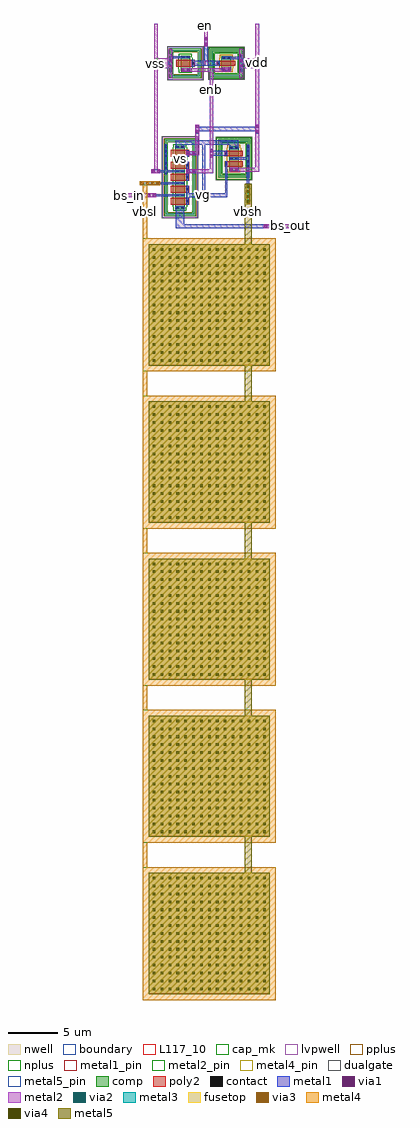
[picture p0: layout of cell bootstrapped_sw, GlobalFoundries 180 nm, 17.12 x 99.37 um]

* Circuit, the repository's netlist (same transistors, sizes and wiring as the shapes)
* NGSPICE file created from bootstrapped_sw.ext - technology: gf180mcuD

.subckt XM1_bs G D a_n302_n324# a_n302_252# S
X0 S G D a_n302_n324# nfet_06v0 ad=0.44p pd=2.88u as=0.44p ps=2.88u w=1u l=0.7u
.ends

.subckt XM4_bs G D w_n319_n356# S
X0 S G D w_n319_n356# pfet_06v0 ad=0.44p pd=2.88u as=0.44p ps=2.88u w=1u l=0.55u
.ends

.subckt XMs1_bs G D a_n302_n324# S
X0 D G S a_n302_n324# nfet_06v0 ad=0.44p pd=2.88u as=0.44p ps=2.88u w=1u l=0.7u
.ends

.subckt bs_cap I1_1_1_R0_BOT I1_1_1_R0_TOP
X0 I1_1_1_R0_TOP I1_1_1_R0_BOT cap_mim_2f0fF c_width=12.339999u c_length=12.339999u
.ends

.subckt XM3_bs G D w_n319_n356# S
X0 D G S w_n319_n356# pfet_06v0 ad=0.44p pd=2.88u as=0.44p ps=2.88u w=1u l=0.55u
.ends

.subckt XM1_bs_inv G D a_n302_n324# S
X0 D G S a_n302_n324# nfet_06v0 ad=0.44p pd=2.88u as=0.44p ps=2.88u w=1u l=0.7u
.ends

.subckt XM2_bs_inv G D w_n319_n356# S
X0 D G S w_n319_n356# pfet_06v0 ad=0.44p pd=2.88u as=0.44p ps=2.88u w=1u l=0.55u
.ends

.subckt bs_inv inv_out vdd inv_in vss
XXM1_bs_inv_0 inv_in inv_out vss vss XM1_bs_inv
XXM2_bs_inv_0 inv_in inv_out vdd vdd XM2_bs_inv
.ends

.subckt XMs_bs G D a_n302_n324# S
X0 D G S a_n302_n324# nfet_06v0 ad=0.44p pd=2.88u as=0.44p ps=2.88u w=1u l=0.7u
.ends

.subckt XM2_bs G D a_n302_n324# a_n302_252# S
X0 D G S a_n302_n324# nfet_06v0 ad=0.44p pd=2.88u as=0.44p ps=2.88u w=1u l=0.7u
.ends

.subckt XMs2_bs G D a_n302_n324# a_n302_252# S
X0 S G D a_n302_n324# nfet_06v0 ad=0.44p pd=2.88u as=0.44p ps=2.88u w=1u l=0.7u
.ends

.subckt bootstrapped_sw vbsl vbsh vdd vss en enb bs_in bs_out vg vs
XXM1_bs_0 vg bs_in vss vss vbsl XM1_bs
XXM4_bs_0 vg vbsh vbsh vdd XM4_bs
XXMs1_bs_0 vdd vs vss vg XMs1_bs
Xbs_cap_0 vbsl vbsh bs_cap
Xbs_cap_1 vbsl vbsh bs_cap
XXM3_bs_0 enb vg vbsh vbsh XM3_bs
Xbs_cap_2 vbsl vbsh bs_cap
Xbs_cap_4 vbsl vbsh bs_cap
Xbs_cap_3 vbsl vbsh bs_cap
Xbs_inv_0 enb vdd en vss bs_inv
XXMs_bs_0 vg bs_out vss bs_in XMs_bs
XXM2_bs_0 enb vbsl vss vss vss XM2_bs
XXMs2_bs_0 enb vs vss vss vss XMs2_bs
.ends

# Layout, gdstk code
from math import pi, radians
import gdstk
lib = gdstk.Library(unit=1e-6, precision=1e-09)
def R(c, l, rs):  # rectangles x0, y0, x1, y1
    for r in rs: c.add(gdstk.rectangle(r[:2], r[2:], *l))
def A(c, l, x, y, w, h, nx, ny, dx, dy):  # array of equal rectangles
    R(c, l, [(x+i*dx, y+j*dy, x+i*dx+w, y+j*dy+h) for i in range(nx) for j in range(ny)])
boundary = (0, 0)
nwell = (21, 0)
comp = (22, 0)
poly2 = (30, 0)
pplus = (31, 0)
nplus = (32, 0)
contact = (33, 0)
metal1 = (34, 0)
metal1_pin = (34, 10)
via1 = (35, 0)
metal2 = (36, 0)
metal2_pin = (36, 10)
via2 = (38, 0)
via3 = (40, 0)
via4 = (41, 0)
metal3 = (42, 0)
metal4 = (46, 0)
metal4_pin = (46, 10)
dualgate = (55, 0)
fusetop = (75, 0)
metal5 = (81, 0)
metal5_pin = (81, 10)
cap_mk = (117, 5)
L117_10 = (117, 10)
lvpwell = (204, 0)

xm2_bs_inv = lib.new_cell('XM2_bs_inv')
R(xm2_bs_inv, boundary, [(-1.255,-1.44,1.255,1.44)])
R(xm2_bs_inv, nwell, [(-1.595,-1.78,1.595,1.78)])
R(xm2_bs_inv, comp, [(-1.435,-1.62,1.435,-1.26), (-1.435,-1.26,-1.075,1.26), (1.075,-1.26,1.435,1.26), (-0.715,-0.5,0.715,0.5), (-1.435,1.26,1.435,1.62)])
R(xm2_bs_inv, poly2, [(-0.275,-0.915,0.275,0.96)])
R(xm2_bs_inv, pplus, [(-0.505,-0.73,0.505,-0.66), (-0.875,-0.66,0.875,0.66), (-0.505,0.66,0.505,0.73)])
R(xm2_bs_inv, nplus, [(-1.595,-1.78,1.595,-1.19), (-1.595,-1.19,-1.005,1.19), (1.005,-1.19,1.595,1.19), (-1.595,1.19,1.595,1.78)])
A(xm2_bs_inv, contact, -0.815, -1.55, 0.22, 0.22, 4, 1, 0.47, 0)
R(xm2_bs_inv, contact, [(-0.645,-0.345,-0.425,-0.125), (0.425,-0.345,0.645,-0.125), (-0.645,0.125,-0.425,0.345), (0.425,0.125,0.645,0.345), (-0.11,0.67,0.11,0.89)])
R(xm2_bs_inv, metal1, [(-0.9,-1.555,0.9,-1.325), (-0.65,-0.435,-0.42,0.435), (0.42,-0.435,0.65,0.435), (-0.265,0.665,0.265,0.895)])
R(xm2_bs_inv, dualgate, [(-1.675,-1.86,1.675,1.86)])
xm2_bs_inv.add(gdstk.Label('D', (0.6,0), layer=34, texttype=0))
xm2_bs_inv.add(gdstk.Label('S', (-0.6,0), layer=34, texttype=0))
xm2_bs_inv.add(gdstk.Label('G', (0,0), layer=30, texttype=10))

xm1_bs_inv = lib.new_cell('XM1_bs_inv')
R(xm1_bs_inv, boundary, [(-1.33,-1.44,1.33,1.44)])
R(xm1_bs_inv, comp, [(-1.51,-1.62,1.51,-1.26), (-1.51,-1.26,-1.15,1.26), (1.15,-1.26,1.51,1.26), (-0.79,-0.5,0.79,0.5), (-1.51,1.26,1.51,1.62)])
R(xm1_bs_inv, poly2, [(-0.35,-0.915,0.35,0.96), (-0.35,-0.915,0.35,0.96)])
R(xm1_bs_inv, pplus, [(-1.025,-1.65,1.025,-1.64), (-1.53,-1.64,1.53,-1.23), (-1.53,-1.23,-1.13,1.24), (1.13,-1.23,1.53,1.24), (-1.53,1.24,1.53,1.64)])
R(xm1_bs_inv, nplus, [(-0.58,-0.73,0.58,-0.66), (-0.95,-0.66,0.95,0.66), (-0.58,0.66,0.58,0.73)])
A(xm1_bs_inv, contact, -0.815, -1.55, 0.22, 0.22, 4, 1, 0.47, 0)
R(xm1_bs_inv, contact, [(-0.72,-0.345,-0.5,-0.125), (0.5,-0.345,0.72,-0.125), (-0.72,0.125,-0.5,0.345), (0.5,0.125,0.72,0.345), (-0.11,0.67,0.11,0.89)])
R(xm1_bs_inv, metal1, [(-0.93,-1.555,0.93,-1.325), (-0.725,-0.435,-0.495,0.435), (0.495,-0.435,0.725,0.435), (-0.34,0.665,0.34,0.895)])
R(xm1_bs_inv, dualgate, [(-1.75,-1.86,1.75,1.86)])
R(xm1_bs_inv, lvpwell, [(-1.67,-1.78,1.67,1.78)])
xm1_bs_inv.add(gdstk.Label('D', (0.6,0), layer=34, texttype=0))
xm1_bs_inv.add(gdstk.Label('S', (-0.6,0), layer=34, texttype=0))
xm1_bs_inv.add(gdstk.Label('G', (0,0), layer=30, texttype=10))

bs_inv = lib.new_cell('bs_inv')
R(bs_inv, metal1, [(3.55,-5.865,4.45,-5.485), (3.275,-5.715,3.505,-3.725), (4.495,-4.61,4.875,-3.71), (3.735,-3.495,4.265,-0.665), (4.42,-0.45,4.8,0.45), (3.35,-0.435,3.58,1.555), (3.55,1.325,4.45,1.705)])
R(bs_inv, metal1_pin, [(3.07,-5.715,3.3,-5.485), (3.735,-2.17,4.265,-1.83), (3.1,1.325,3.33,1.555)])
R(bs_inv, via1, [(3.61,-5.805,3.87,-5.545), (4.13,-5.805,4.39,-5.545), (4.555,-4.55,4.815,-4.29), (4.555,-4.03,4.815,-3.77), (4.48,-0.39,4.74,-0.13), (4.48,0.13,4.74,0.39), (3.61,1.385,3.87,1.645), (4.13,1.385,4.39,1.645)])
R(bs_inv, metal2, [(2.5,-5.865,5.5,-5.485), (3.55,-5.865,4.45,-5.485), (4.495,-4.61,4.875,-3.71), (4.495,-4.61,4.875,0.45), (4.42,-0.45,4.8,0.45), (2.5,1.325,5.5,1.705), (3.55,1.325,4.45,1.705)])
R(bs_inv, metal2_pin, [(4.495,-2.17,4.875,-1.83)])
bs_inv.add(gdstk.Reference(xm2_bs_inv, (4,0), x_reflection=True))
bs_inv.add(gdstk.Reference(xm1_bs_inv, (4,-4.16)))
bs_inv.add(gdstk.Label('vdd', (3.214,1.44), layer=34, texttype=10))
bs_inv.add(gdstk.Label('vss', (3.184,-5.6), layer=34, texttype=10))
bs_inv.add(gdstk.Label('inv_in', (3.999,-1.987), layer=34, texttype=10))
bs_inv.add(gdstk.Label('inv_out', (4.68,-1.998), layer=36, texttype=10))

xms1_bs = lib.new_cell('XMs1_bs')
R(xms1_bs, boundary, [(-1.33,-1.44,1.33,1.44)])
R(xms1_bs, comp, [(-1.51,-1.62,1.51,-1.26), (-1.51,-1.26,-1.15,1.26), (-0.79,-0.5,0.79,0.5), (-1.51,1.26,1.51,1.62)])
R(xms1_bs, poly2, [(-0.35,-0.915,0.35,0.96)])
R(xms1_bs, pplus, [(-1.025,-1.65,1.025,-1.64), (-1.53,-1.64,1.53,-1.23), (-1.53,-1.23,-1.13,1.24), (-1.53,1.24,1.53,1.64)])
R(xms1_bs, nplus, [(-0.58,-0.73,0.61,-0.66), (-0.95,-0.66,0.95,0.66), (-0.58,0.66,0.61,0.73)])
A(xms1_bs, contact, -0.815, -1.55, 0.22, 0.22, 3, 1, 0.47, 0)
R(xms1_bs, contact, [(-0.72,-0.345,-0.5,-0.125), (0.5,-0.345,0.72,-0.125), (-0.72,0.125,-0.5,0.345), (0.5,0.125,0.72,0.345), (-0.11,0.67,0.11,0.89)])
R(xms1_bs, metal1, [(-0.93,-1.555,0.93,-1.325), (-0.725,-0.435,-0.495,0.435), (0.495,-0.435,0.725,0.435), (-0.34,0.665,0.34,0.895)])
R(xms1_bs, dualgate, [(-1.75,-1.86,1.75,1.86)])
R(xms1_bs, lvpwell, [(-1.67,-1.78,1.67,1.78)])
xms1_bs.add(gdstk.Label('D', (0.6,0), layer=34, texttype=0))
xms1_bs.add(gdstk.Label('S', (-0.6,0), layer=34, texttype=0))
xms1_bs.add(gdstk.Label('G', (0,0), layer=30, texttype=10))

xms_bs = lib.new_cell('XMs_bs')
R(xms_bs, boundary, [(-1.33,-1.44,1.33,1.44)])
R(xms_bs, comp, [(-1.51,-1.62,1.51,-1.26), (1.15,-1.26,1.51,1.26), (-0.79,-0.5,0.79,0.5), (-1.51,1.26,1.51,1.62)])
R(xms_bs, poly2, [(-0.35,-0.915,0.35,0.96)])
R(xms_bs, pplus, [(-1.025,-1.65,1.025,-1.64), (-1.53,-1.64,1.53,-1.23), (1.13,-1.23,1.53,1.24), (-1.53,1.24,1.53,1.64)])
R(xms_bs, nplus, [(-0.61,-0.73,0.58,-0.66), (-0.95,-0.66,0.95,0.66), (-0.61,0.66,0.58,0.73)])
R(xms_bs, contact, [(-0.72,-0.345,-0.5,-0.125), (0.5,-0.345,0.72,-0.125), (-0.72,0.125,-0.5,0.345), (0.5,0.125,0.72,0.345), (-0.11,0.67,0.11,0.89)])
R(xms_bs, metal1, [(-0.725,-0.435,-0.495,0.435), (0.495,-0.435,0.725,0.435), (-0.34,0.665,0.34,0.895)])
R(xms_bs, dualgate, [(-1.75,-1.86,1.75,1.86)])
R(xms_bs, lvpwell, [(-1.67,-1.78,1.67,1.78)])
xms_bs.add(gdstk.Label('D', (0.6,0), layer=34, texttype=0))
xms_bs.add(gdstk.Label('S', (-0.6,0), layer=34, texttype=0))
xms_bs.add(gdstk.Label('G', (0,0), layer=30, texttype=10))

xm1_bs = lib.new_cell('XM1_bs')
R(xm1_bs, boundary, [(-1.33,-1.44,1.33,1.44)])
R(xm1_bs, comp, [(-1.51,-1.62,1.51,-1.26), (-0.79,-0.5,0.79,0.5), (-1.51,1.26,1.51,1.62)])
R(xm1_bs, poly2, [(-0.35,-0.915,0.35,0.96)])
R(xm1_bs, pplus, [(-1.025,-1.65,1.025,-1.64), (-1.53,-1.64,1.53,-1.23), (-1.53,1.24,1.53,1.64)])
R(xm1_bs, nplus, [(-0.61,-0.73,0.61,-0.66), (-0.95,-0.66,0.95,0.66), (-0.61,0.66,0.61,0.73)])
R(xm1_bs, contact, [(-0.72,-0.345,-0.5,-0.125), (0.5,-0.345,0.72,-0.125), (-0.72,0.125,-0.5,0.345), (0.5,0.125,0.72,0.345), (-0.11,0.67,0.11,0.89)])
R(xm1_bs, metal1, [(-0.725,-0.435,-0.495,0.435), (0.495,-0.435,0.725,0.435), (-0.34,0.665,0.34,0.895)])
R(xm1_bs, dualgate, [(-1.75,-1.86,1.75,1.86)])
R(xm1_bs, lvpwell, [(-1.67,-1.78,1.67,1.78)])
xm1_bs.add(gdstk.Label('D', (0.6,0), layer=34, texttype=0))
xm1_bs.add(gdstk.Label('S', (-0.6,0), layer=34, texttype=0))
xm1_bs.add(gdstk.Label('G', (0,0), layer=30, texttype=10))

xm2_bs = lib.new_cell('XM2_bs')
R(xm2_bs, boundary, [(-1.33,-1.44,1.33,1.44)])
R(xm2_bs, comp, [(-1.51,-1.62,1.51,-1.26), (-0.79,-0.5,0.79,0.5), (-1.51,1.26,1.51,1.62)])
R(xm2_bs, poly2, [(-0.35,-0.915,0.35,0.96)])
R(xm2_bs, pplus, [(-1.025,-1.65,1.025,-1.64), (-1.53,-1.64,1.53,-1.23), (-1.53,1.24,1.53,1.64)])
R(xm2_bs, nplus, [(-0.61,-0.73,0.61,-0.66), (-0.95,-0.66,0.95,0.66), (-0.61,0.66,0.61,0.73)])
R(xm2_bs, contact, [(-0.72,-0.345,-0.5,-0.125), (0.5,-0.345,0.72,-0.125), (-0.72,0.125,-0.5,0.345), (0.5,0.125,0.72,0.345), (-0.11,0.67,0.11,0.89)])
R(xm2_bs, metal1, [(-0.725,-0.435,-0.495,0.435), (0.495,-0.435,0.725,0.435), (-0.34,0.665,0.34,0.895)])
R(xm2_bs, dualgate, [(-1.75,-1.86,1.75,1.86)])
R(xm2_bs, lvpwell, [(-1.67,-1.78,1.67,1.78)])
xm2_bs.add(gdstk.Label('D', (0.6,0), layer=34, texttype=0))
xm2_bs.add(gdstk.Label('S', (-0.6,0), layer=34, texttype=0))
xm2_bs.add(gdstk.Label('G', (0,0), layer=30, texttype=10))

xms2_bs = lib.new_cell('XMs2_bs')
R(xms2_bs, boundary, [(-1.33,-1.44,1.33,1.44)])
R(xms2_bs, comp, [(-1.51,-1.62,1.51,-1.26), (-0.79,-0.5,0.79,0.5), (-1.51,1.26,1.51,1.62)])
R(xms2_bs, poly2, [(-0.35,-0.915,0.35,0.96)])
R(xms2_bs, pplus, [(-1.025,-1.65,1.025,-1.64), (-1.53,-1.64,1.53,-1.23), (-1.53,1.24,1.53,1.64)])
R(xms2_bs, nplus, [(-0.61,-0.73,0.61,-0.66), (-0.95,-0.66,0.95,0.66), (-0.61,0.66,0.61,0.73)])
R(xms2_bs, contact, [(-0.345,-1.55,-0.125,-1.33), (0.125,-1.55,0.345,-1.33), (-0.72,-0.345,-0.5,-0.125), (0.5,-0.345,0.72,-0.125), (-0.72,0.125,-0.5,0.345), (0.5,0.125,0.72,0.345), (-0.11,0.67,0.11,0.89)])
R(xms2_bs, metal1, [(-0.93,-1.555,0.93,-1.325), (-0.725,-0.435,-0.495,0.435), (0.495,-0.435,0.725,0.435), (-0.34,0.665,0.34,0.895)])
R(xms2_bs, dualgate, [(-1.75,-1.86,1.75,1.86)])
R(xms2_bs, lvpwell, [(-1.67,-1.78,1.67,1.78)])
xms2_bs.add(gdstk.Label('D', (0.6,0), layer=34, texttype=0))
xms2_bs.add(gdstk.Label('S', (-0.6,0), layer=34, texttype=0))
xms2_bs.add(gdstk.Label('G', (0,0), layer=30, texttype=10))

xm4_bs = lib.new_cell('XM4_bs')
R(xm4_bs, boundary, [(-1.255,-1.44,1.255,1.44)])
R(xm4_bs, nwell, [(-1.595,-1.78,1.595,1.78)])
R(xm4_bs, comp, [(-1.435,-1.62,1.435,-1.26), (1.075,-1.26,1.435,1.26), (-0.715,-0.5,0.715,0.5), (-1.435,1.26,1.435,1.62)])
R(xm4_bs, poly2, [(-0.275,-0.915,0.275,0.96)])
R(xm4_bs, pplus, [(-0.532,-0.73,0.505,-0.66), (-0.875,-0.66,0.875,0.66), (-0.537,0.66,0.505,0.73)])
R(xm4_bs, nplus, [(-1.595,-1.78,1.595,-1.19), (1.005,-1.19,1.595,1.19), (-1.595,1.19,1.595,1.78)])
A(xm4_bs, contact, -0.345, -1.55, 0.22, 0.22, 3, 1, 0.47, 0)
R(xm4_bs, contact, [(-0.645,-0.345,-0.425,-0.125), (0.425,-0.345,0.645,-0.125), (-0.645,0.125,-0.425,0.345), (0.425,0.125,0.645,0.345), (-0.11,0.67,0.11,0.89)])
R(xm4_bs, metal1, [(-0.9,-1.555,0.9,-1.325), (-0.65,-0.435,-0.42,0.435), (0.42,-0.435,0.65,0.435), (-0.265,0.665,0.265,0.895)])
R(xm4_bs, dualgate, [(-1.675,-1.86,1.675,1.86)])
xm4_bs.add(gdstk.Label('D', (0.6,0), layer=34, texttype=0))
xm4_bs.add(gdstk.Label('S', (-0.6,0), layer=34, texttype=0))
xm4_bs.add(gdstk.Label('G', (0,0), layer=30, texttype=10))

xm3_bs = lib.new_cell('XM3_bs')
R(xm3_bs, boundary, [(-1.255,-1.44,1.255,1.44)])
R(xm3_bs, nwell, [(-1.595,-1.78,1.595,1.78)])
R(xm3_bs, comp, [(-1.435,-1.62,1.435,-1.26), (1.075,-1.26,1.435,1.26), (-0.715,-0.5,0.715,0.5), (-1.435,1.26,1.435,1.62)])
R(xm3_bs, poly2, [(-0.275,-0.915,0.275,0.96)])
R(xm3_bs, pplus, [(-0.538,-0.73,0.505,-0.66), (-0.875,-0.66,0.875,0.66), (-0.533,0.66,0.505,0.73)])
R(xm3_bs, nplus, [(-1.595,-1.78,1.595,-1.19), (1.005,-1.19,1.595,1.19), (-1.595,1.19,1.595,1.78)])
A(xm3_bs, contact, -0.345, -1.55, 0.22, 0.22, 3, 1, 0.47, 0)
R(xm3_bs, contact, [(-0.645,-0.345,-0.425,-0.125), (0.425,-0.345,0.645,-0.125), (-0.645,0.125,-0.425,0.345), (0.425,0.125,0.645,0.345), (-0.11,0.67,0.11,0.89)])
R(xm3_bs, metal1, [(-0.9,-1.555,0.9,-1.325), (-0.65,-0.435,-0.42,0.435), (0.42,-0.435,0.65,0.435), (-0.265,0.665,0.265,0.895)])
R(xm3_bs, dualgate, [(-1.675,-1.86,1.675,1.86)])
xm3_bs.add(gdstk.Label('D', (0.6,0), layer=34, texttype=0))
xm3_bs.add(gdstk.Label('S', (-0.6,0), layer=34, texttype=0))
xm3_bs.add(gdstk.Label('G', (0,0), layer=30, texttype=10))

bs_cap = lib.new_cell('bs_cap')
A(bs_cap, via4, 19.6, 118.4, 0.26, 0.26, 3, 3, 0.81, 0.81)
A(bs_cap, via4, 22.025, 118.4, 0.26, 0.26, 12, 3, 0.805, 0.81)
A(bs_cap, via4, 19.6, 120.825, 0.26, 0.26, 3, 12, 0.81, 0.805)
A(bs_cap, via4, 22.025, 120.825, 0.26, 0.26, 12, 12, 0.805, 0.805)
R(bs_cap, metal4, [(18.6,117.4,32.14,130.94)])
R(bs_cap, fusetop, [(19.2,118,31.54,130.34)])
R(bs_cap, metal5, [(19.2,118,31.54,130.34)])
R(bs_cap, cap_mk, [(18.6,117.4,32.14,130.94)])
R(bs_cap, L117_10, [(19.2,118,31.54,118.1)])
bs_cap.add(gdstk.Label('BOT', (25.37,124.17), layer=46, texttype=0))
bs_cap.add(gdstk.Label('TOP', (25.37,124.17), layer=81, texttype=0))
bs_cap.add(gdstk.Label('I1_1_1_R0_TOP', (19.225,118.025), layer=81, texttype=10))
bs_cap.add(gdstk.Label('I1_1_1_R0_BOT', (18.625,117.425), layer=46, texttype=10))

bootstrapped_sw = lib.new_cell('bootstrapped_sw')
R(bootstrapped_sw, metal1, [(-3.495,26.915,-2.625,29.14), (-3.495,26.915,6.39,27.295), (5.49,26.915,6.39,27.295), (-2.395,29.295,-2.165,31.195), (3.685,29.335,4.085,30.375), (-2.395,30.03,1.775,30.47), (-0.77,30.03,-0.47,35.845), (1.545,30.03,1.775,33.71), (-6.39,30.055,-5.49,30.435), (-6.39,30.13,-2.625,30.36), (3.685,30.375,4.085,31.415), (-7.14,31.265,-6.1,31.665), (-6.1,31.265,-5.06,31.665), (-7.14,31.35,-2.625,31.58), (3.765,31.415,3.995,35.415), (-2.395,31.735,-2.165,33.635), (-5.96,32.495,-5.06,32.875), (-2.395,32.495,-1.495,32.875), (-5.06,32.57,-2.625,32.8), (2.005,32.645,2.905,33.025), (2.005,33.865,3.995,34.095), (-0.05,34.065,0.33,34.965), (-0.05,34.25,1.775,34.78), (-2.395,34.325,-1.495,34.705), (2.005,34.935,2.875,35.845), (-3.495,35.01,-2.625,35.845), (-3.495,35.405,2.875,35.845), (4.625,36.53,5.005,37.43), (-1.495,36.535,-1.115,37.435), (-1.495,36.765,5.005,37.205), (-0.61,43.42,-0.23,46.335), (-0.61,45.435,-0.23,46.335)])
R(bootstrapped_sw, metal1_pin, [(-0.77,30.03,-0.47,30.47), (-3.29,33.79,-2.85,34.02)])
A(bootstrapped_sw, via1, 3.755, 29.465, 0.26, 0.26, 1, 4, 0, 0.52)
A(bootstrapped_sw, via1, -7.01, 31.335, 0.26, 0.26, 4, 1, 0.52, 0)
R(bootstrapped_sw, via1, [(5.55,26.975,5.81,27.235), (6.07,26.975,6.33,27.235), (-6.33,30.115,-6.07,30.375), (-5.81,30.115,-5.55,30.375), (-5.9,32.555,-5.64,32.815), (-5.38,32.555,-5.12,32.815), (-2.335,32.555,-2.075,32.815), (-1.815,32.555,-1.555,32.815), (2.065,32.705,2.325,32.965), (2.585,32.705,2.845,32.965), (0.01,34.125,0.27,34.385), (-2.335,34.385,-2.075,34.645), (-1.815,34.385,-1.555,34.645), (0.01,34.645,0.27,34.905), (4.685,36.59,4.945,36.85), (-1.435,36.595,-1.175,36.855), (4.685,37.11,4.945,37.37), (-1.435,37.115,-1.175,37.375), (-0.55,45.495,-0.29,45.755), (-0.55,46.015,-0.29,46.275)])
R(bootstrapped_sw, metal2, [(5.49,26.915,6.39,27.295), (5.49,26.915,8.56,27.295), (3.685,29.335,4.085,30.375), (-8.56,30.055,-5.49,30.435), (-6.39,30.055,-5.49,30.435), (-6.39,30.055,-5.49,30.435), (3.685,30.375,4.085,31.415), (-7.14,31.265,-6.1,31.665), (-6.1,31.265,-5.06,31.665), (-5.96,32.495,-5.06,32.875), (-5.96,32.495,-5.06,32.875), (-5.7,32.495,-5.32,47.685), (-2.395,32.495,-1.495,32.875), (-2.395,32.495,-1.495,32.875), (-2.395,32.495,0.33,32.875), (-0.05,32.495,0.33,43.19), (2.005,32.645,2.905,33.025), (2.005,32.645,2.905,33.025), (2.005,32.645,5.005,33.025), (4.625,32.645,5.005,47.685), (-0.05,34.065,0.33,34.965), (-0.05,34.065,0.33,34.965), (-2.395,34.325,-1.495,34.705), (-2.395,34.325,-1.115,34.705), (-1.495,34.325,-1.115,37.435), (4.625,36.53,5.005,37.43), (-1.495,36.535,-1.115,37.435), (-5.7,43.185,-3.825,44.185), (2.985,43.185,5.005,44.185), (-0.61,45.435,-0.23,46.335), (-0.61,45.435,-0.23,47.685)])
R(bootstrapped_sw, metal2_pin, [(7.91,26.915,8.56,27.295), (-8.56,30.055,-7.91,30.435), (-0.05,40.845,0.33,41.145), (-5.7,43.185,-5.32,44.185), (4.625,43.185,5.005,44.185), (-0.61,47.385,-0.23,47.685)])
A(bootstrapped_sw, via2, 3.755, 29.465, 0.26, 0.26, 1, 4, 0, 0.52)
A(bootstrapped_sw, via2, -7.01, 31.335, 0.26, 0.26, 4, 1, 0.52, 0)
A(bootstrapped_sw, via3, 3.755, 29.465, 0.26, 0.26, 1, 4, 0, 0.52)
A(bootstrapped_sw, via3, -7.01, 31.335, 0.26, 0.26, 4, 1, 0.52, 0)
A(bootstrapped_sw, via4, 3.755, 29.465, 0.26, 0.26, 1, 4, 0, 0.52)
R(bootstrapped_sw, metal3, [(3.685,29.335,4.085,30.375), (3.685,30.375,4.085,31.415), (-7.14,31.265,-6.1,31.665), (-6.1,31.265,-5.06,31.665)])
R(bootstrapped_sw, metal4, [(-6.84,-45.23,-6.4,31.665), (3.685,29.335,4.085,30.375), (3.685,30.375,4.085,31.415), (-7.14,31.265,-6.1,31.665), (-6.1,31.265,-5.06,31.665)])
R(bootstrapped_sw, metal4_pin, [(-6.84,28.225,-6.4,28.925)])
R(bootstrapped_sw, metal5, [(3.535,-47.085,4.235,31.415), (3.685,29.335,4.085,30.375), (3.685,30.375,4.085,31.415)])
R(bootstrapped_sw, metal5_pin, [(3.535,28.225,4.235,28.925)])
bootstrapped_sw.add(gdstk.Reference(bs_inv, (1.66,47.685), rotation=3*pi/2))
bootstrapped_sw.add(gdstk.Reference(xms1_bs, (-3.06,34.515), rotation=3*pi/2))
bootstrapped_sw.add(gdstk.Reference(xms_bs, (-3.06,29.635), rotation=3*pi/2))
bootstrapped_sw.add(gdstk.Reference(xm1_bs, (-3.06,30.855), rotation=pi/2, x_reflection=True))
bootstrapped_sw.add(gdstk.Reference(xm2_bs, (-3.06,32.075), rotation=3*pi/2))
bootstrapped_sw.add(gdstk.Reference(xms2_bs, (-3.06,33.295), rotation=3*pi/2))
bootstrapped_sw.add(gdstk.Reference(xm4_bs, (2.44,33.445), rotation=3*pi/2, x_reflection=True))
bootstrapped_sw.add(gdstk.Reference(xm3_bs, (2.44,34.515), rotation=pi/2))
bootstrapped_sw.add(gdstk.Reference(bs_cap, (-25.44,-105.085)))
bootstrapped_sw.add(gdstk.Reference(bs_cap, (-25.44,-121.085)))
bootstrapped_sw.add(gdstk.Reference(bs_cap, (-25.44,-137.085)))
bootstrapped_sw.add(gdstk.Reference(bs_cap, (-25.44,-153.085)))
bootstrapped_sw.add(gdstk.Reference(bs_cap, (-25.44,-169.085)))
bootstrapped_sw.add(gdstk.Label('vbsh', (3.9,28.56), layer=81, texttype=10))
bootstrapped_sw.add(gdstk.Label('vbsl', (-6.63,28.59), layer=46, texttype=10))
bootstrapped_sw.add(gdstk.Label('vg', (-0.63,30.275), layer=34, texttype=10))
bootstrapped_sw.add(gdstk.Label('vs', (-3.045,33.95), layer=34, texttype=10))
bootstrapped_sw.add(gdstk.Label('vdd', (4.82,43.745), layer=36, texttype=10))
bootstrapped_sw.add(gdstk.Label('vss', (-5.5,43.695), layer=36, texttype=10))
bootstrapped_sw.add(gdstk.Label('en', (-0.41,47.54), layer=36, texttype=10))
bootstrapped_sw.add(gdstk.Label('enb', (0.15,41), layer=36, texttype=10))
bootstrapped_sw.add(gdstk.Label('bs_in', (-8.23,30.265), layer=36, texttype=10))
bootstrapped_sw.add(gdstk.Label('bs_out', (8.23,27.125), layer=36, texttype=10))

lib.write_gds('bootstrapped_sw.gds')
